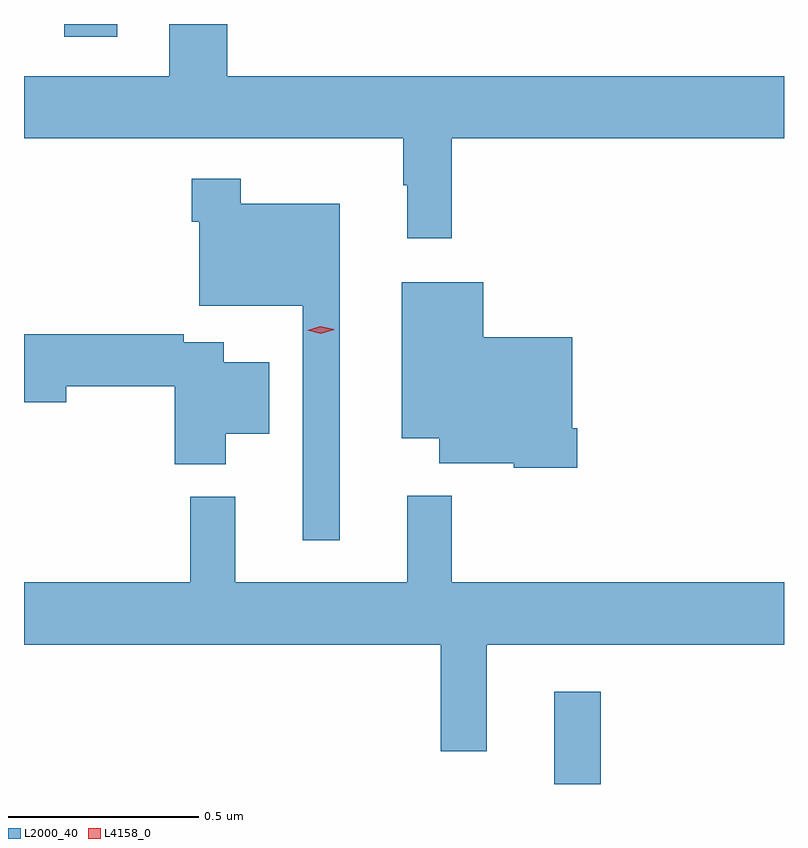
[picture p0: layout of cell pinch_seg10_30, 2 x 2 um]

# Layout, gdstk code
import gdstk
lib = gdstk.Library(unit=1e-6, precision=1e-09)
def R(c, l, rs):  # rectangles x0, y0, x1, y1
    for r in rs: c.add(gdstk.rectangle(r[:2], r[2:], *l))
def P(c, l, *ps):  # polygons
    for p in ps: c.add(gdstk.Polygon(p, *l))
L2000_40 = (2000, 40)
L4158_0 = (4158, 0)

pinch_seg10_30 = lib.new_cell('pinch_seg10_30')
R(pinch_seg10_30, L2000_40, [(930.245,1282.633,930.367,1282.876), (928.955,1284.6,929.095,1284.633)])
P(pinch_seg10_30, L2000_40, [(929.975,1284.332),(930.849,1284.332),(930.849,1284.496),(929.384,1284.496),(929.384,1284.633),(929.231,1284.633),(929.231,1284.496),(928.849,1284.496),(928.849,1284.332),(929.847,1284.332),(929.847,1284.209),(929.858,1284.209),(929.858,1284.069),(929.975,1284.069)],
  [(929.68,1284.16),(929.419,1284.16),(929.419,1284.226),(929.29,1284.226),(929.29,1284.113),(929.31,1284.113),(929.31,1283.891),(929.583,1283.891),(929.583,1283.274),(929.68,1283.274)],
  [(930.305,1283.569),(930.292,1283.569),(930.292,1283.809),(930.058,1283.809),(930.058,1283.953),(929.843,1283.953),(929.843,1283.543),(929.942,1283.543),(929.942,1283.477),(930.138,1283.477),(930.138,1283.465),(930.305,1283.465)],
  [(929.38,1283.555),(929.494,1283.555),(929.494,1283.743),(929.374,1283.743),(929.374,1283.796),(929.27,1283.796),(929.27,1283.816),(928.849,1283.816),(928.849,1283.638),(928.96,1283.638),(928.96,1283.68),(929.246,1283.68),(929.246,1283.474),(929.38,1283.474)],
  [(930.067,1283),(930.849,1283),(930.849,1283.164),(929.975,1283.164),(929.975,1283.392),(929.858,1283.392),(929.858,1283.164),(929.405,1283.164),(929.405,1283.389),(929.287,1283.389),(929.287,1283.164),(928.849,1283.164),(928.849,1283),(929.946,1283),(929.946,1282.719),(930.067,1282.719)])
P(pinch_seg10_30, L4158_0, [(929.63,1283.818),(929.594,1283.827),(929.594,1283.827),(929.594,1283.827),(929.629,1283.838),(929.665,1283.83),(929.665,1283.83),(929.665,1283.829)])

lib.write_gds('pinch_seg10_30.gds')
